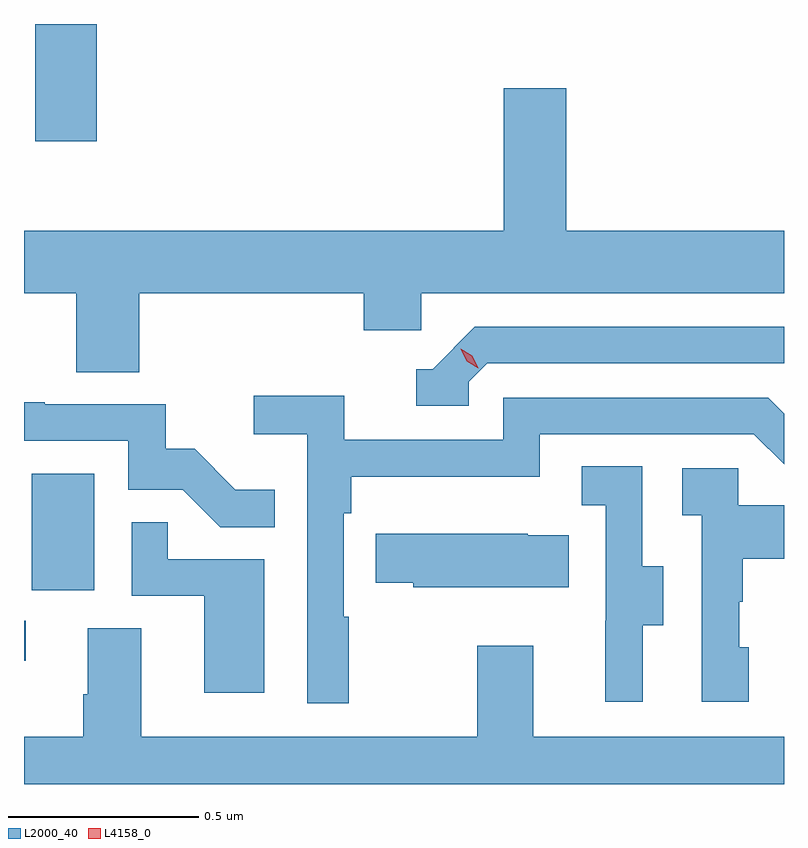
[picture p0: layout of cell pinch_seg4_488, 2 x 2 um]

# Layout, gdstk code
import gdstk
lib = gdstk.Library(unit=1e-6, precision=1e-09)
def R(c, l, rs):  # rectangles x0, y0, x1, y1
    for r in rs: c.add(gdstk.rectangle(r[:2], r[2:], *l))
def P(c, l, *ps):  # polygons
    for p in ps: c.add(gdstk.Polygon(p, *l))
L2000_40 = (2000, 40)
L4158_0 = (4158, 0)

pinch_seg4_488 = lib.new_cell('pinch_seg4_488')
R(pinch_seg4_488, L2000_40, [(930.977,750.564,930.982,750.669), (930.998,750.75,931.162,751.057), (931.007,751.932,931.168,752.24)])
P(pinch_seg4_488, L2000_40, [(931.28,751.532),(931.871,751.532),(931.871,751.434),(932.022,751.434),(932.022,751.532),(932.977,751.532),(932.977,751.696),(932.404,751.696),(932.404,752.071),(932.24,752.071),(932.24,751.696),(930.977,751.696),(930.977,751.532),(931.115,751.532),(931.115,751.324),(931.28,751.324)],
  [(932.148,751.299),(932.196,751.347),(932.977,751.347),(932.977,751.443),(932.163,751.443),(932.052,751.332),(932.009,751.332),(932.009,751.236),(932.148,751.236)],
  [(931.831,750.68),(931.818,750.68),(931.818,750.953),(931.838,750.953),(931.838,751.049),(932.334,751.049),(932.334,751.161),(932.898,751.161),(932.977,751.082),(932.977,751.215),(932.935,751.257),(932.238,751.257),(932.238,751.146),(931.82,751.146),(931.82,751.262),(931.581,751.262),(931.581,751.16),(931.722,751.16),(931.722,750.453),(931.831,750.453)],
  [(931.637,751.015),(931.533,751.015),(931.426,751.122),(931.35,751.122),(931.35,751.239),(931.031,751.239),(931.031,751.244),(930.977,751.244),(930.977,751.143),(931.251,751.143),(931.251,751.014),(931.395,751.014),(931.493,750.916),(931.637,750.916)],
  [(932.605,750.658),(932.659,750.658),(932.659,750.813),(932.604,750.813),(932.604,751.076),(932.445,751.076),(932.445,750.973),(932.508,750.973),(932.508,750.669),(932.507,750.669),(932.507,750.456),(932.605,750.456)],
  [(932.884,750.6),(932.859,750.6),(932.859,750.719),(932.869,750.719),(932.869,750.833),(932.977,750.833),(932.977,750.973),(932.856,750.973),(932.856,751.071),(932.709,751.071),(932.709,750.947),(932.76,750.947),(932.76,750.456),(932.884,750.456)],
  [(931.609,750.831),(931.355,750.831),(931.355,750.929),(931.26,750.929),(931.26,750.735),(931.451,750.735),(931.451,750.48),(931.609,750.48)],
  [(932.411,750.895),(932.303,750.895),(932.303,750.898),(931.903,750.898),(931.903,750.769),(932.001,750.769),(932.001,750.758),(932.411,750.758)],
  [(932.977,750.364),(932.317,750.364),(932.317,750.604),(932.17,750.604),(932.17,750.364),(931.285,750.364),(931.285,750.65),(931.145,750.65),(931.145,750.476),(931.133,750.476),(931.133,750.364),(930.977,750.364),(930.977,750.24),(932.977,750.24)])
P(pinch_seg4_488, L4158_0, [(932.173,751.334),(932.142,751.353),(932.126,751.386),(932.126,751.386),(932.126,751.386),(932.157,751.367),(932.173,751.334),(932.173,751.334)])

lib.write_gds('pinch_seg4_488.gds')
